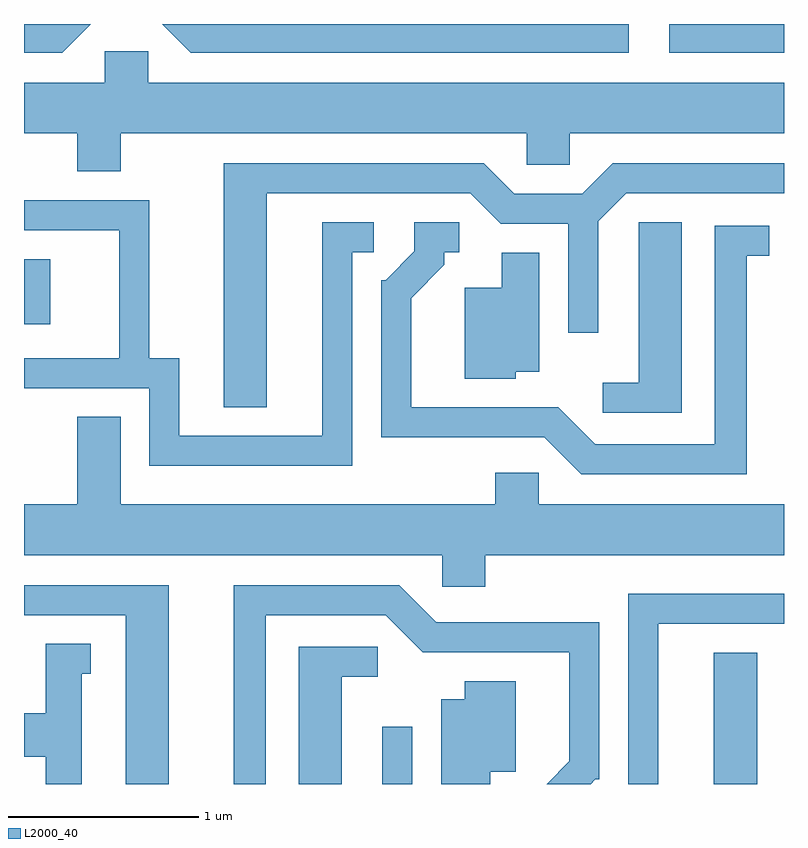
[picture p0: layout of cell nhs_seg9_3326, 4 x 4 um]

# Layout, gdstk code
import gdstk
lib = gdstk.Library(unit=1e-6, precision=1e-09)
def R(c, l, rs):  # rectangles x0, y0, x1, y1
    for r in rs: c.add(gdstk.rectangle(r[:2], r[2:], *l))
def P(c, l, *ps):  # polygons
    for p in ps: c.add(gdstk.Polygon(p, *l))
L2000_40 = (2000, 40)

nhs_seg9_3326 = lib.new_cell('nhs_seg9_3326')
R(nhs_seg9_3326, L2000_40, [(285.496,1948.432,285.654,1948.733), (287.241,1948.432,287.469,1949.124), (283.611,1950.851,283.749,1951.194), (287.006,1952.281,287.611,1952.432)])
P(nhs_seg9_3326, L2000_40, [(283.963,1952.432),(283.611,1952.432),(283.611,1952.281),(283.812,1952.281)],
  [(286.794,1952.432),(284.338,1952.432),(284.489,1952.281),(286.794,1952.281)],
  [(284.119,1951.856),(286.256,1951.856),(286.256,1951.691),(286.484,1951.691),(286.484,1951.856),(287.611,1951.856),(287.611,1952.124),(284.264,1952.124),(284.264,1952.289),(284.036,1952.289),(284.036,1952.124),(283.611,1952.124),(283.611,1951.856),(283.891,1951.856),(283.891,1951.656),(284.119,1951.656)],
  [(284.889,1951.541),(285.959,1951.541),(286.119,1951.381),(286.476,1951.381),(286.476,1950.808),(286.634,1950.808),(286.634,1951.394),(286.782,1951.541),(287.611,1951.541),(287.611,1951.699),(286.709,1951.699),(286.549,1951.539),(286.192,1951.539),(286.032,1951.699),(284.661,1951.699),(284.661,1950.416),(284.889,1950.416)],
  [(285.339,1951.231),(285.453,1951.231),(285.453,1951.389),(285.181,1951.389),(285.181,1950.264),(284.429,1950.264),(284.429,1950.674),(284.269,1950.674),(284.269,1951.504),(283.611,1951.504),(283.611,1951.346),(284.111,1951.346),(284.111,1950.674),(283.611,1950.674),(283.611,1950.516),(284.271,1950.516),(284.271,1950.106),(285.339,1950.106)],
  [(287.414,1951.211),(287.533,1951.211),(287.533,1951.369),(287.246,1951.369),(287.246,1950.219),(286.617,1950.219),(286.422,1950.414),(285.649,1950.414),(285.649,1950.989),(285.824,1951.164),(285.824,1951.231),(285.903,1951.231),(285.903,1951.389),(285.666,1951.389),(285.666,1951.237),(285.514,1951.084),(285.491,1951.084),(285.491,1950.256),(286.349,1950.256),(286.544,1950.061),(287.414,1950.061)],
  [(287.074,1951.389),(286.846,1951.389),(286.846,1950.544),(286.658,1950.544),(286.658,1950.386),(287.074,1950.386)],
  [(286.199,1950.601),(286.324,1950.601),(286.324,1951.229),(286.126,1951.229),(286.126,1951.044),(285.931,1951.044),(285.931,1950.566),(286.199,1950.566)],
  [(286.039,1949.636),(287.611,1949.636),(287.611,1949.904),(286.319,1949.904),(286.319,1950.069),(286.091,1950.069),(286.091,1949.904),(284.119,1949.904),(284.119,1950.364),(283.891,1950.364),(283.891,1949.904),(283.611,1949.904),(283.611,1949.636),(285.811,1949.636),(285.811,1949.471),(286.039,1949.471)],
  [(284.374,1949.479),(283.611,1949.479),(283.611,1949.321),(284.146,1949.321),(284.146,1948.432),(284.374,1948.432)],
  [(284.884,1949.321),(285.514,1949.321),(285.709,1949.126),(286.481,1949.126),(286.481,1948.552),(286.361,1948.432),(286.593,1948.432),(286.617,1948.456),(286.639,1948.456),(286.639,1949.284),(285.782,1949.284),(285.587,1949.479),(284.716,1949.479),(284.716,1948.432),(284.884,1948.432)],
  [(286.949,1949.276),(287.611,1949.276),(287.611,1949.434),(286.791,1949.434),(286.791,1948.432),(286.949,1948.432)],
  [(283.914,1949.011),(283.963,1949.011),(283.963,1949.169),(283.726,1949.169),(283.726,1948.804),(283.611,1948.804),(283.611,1948.576),(283.726,1948.576),(283.726,1948.432),(283.914,1948.432)],
  [(285.284,1948.996),(285.473,1948.996),(285.473,1949.154),(285.056,1949.154),(285.056,1948.432),(285.284,1948.432)],
  [(286.064,1948.496),(286.199,1948.496),(286.199,1948.974),(285.931,1948.974),(285.931,1948.879),(285.806,1948.879),(285.806,1948.432),(286.064,1948.432)])

lib.write_gds('nhs_seg9_3326.gds')
